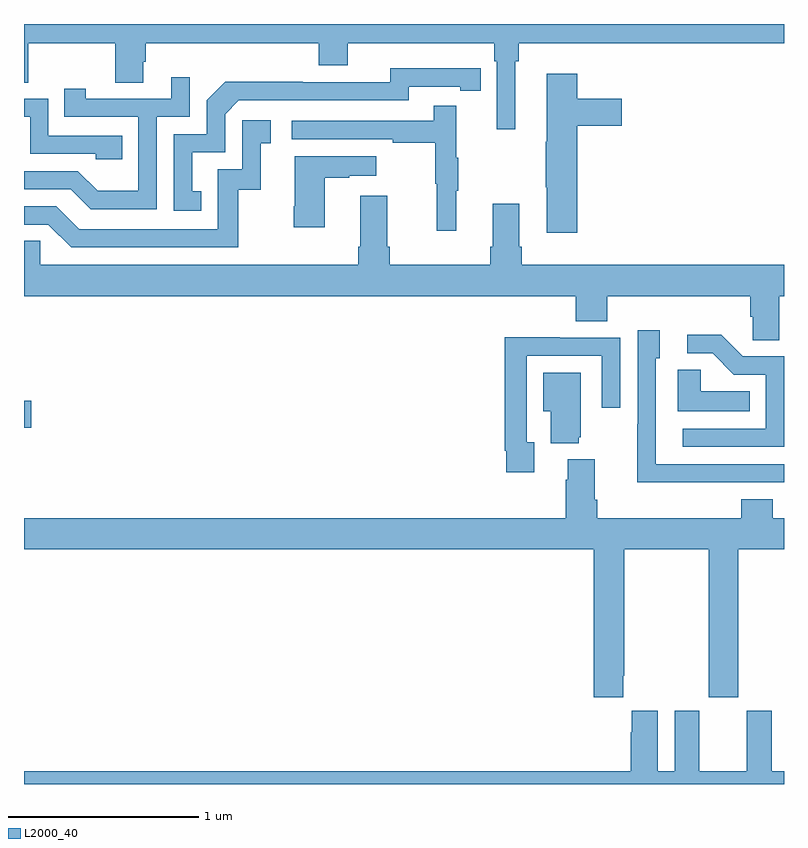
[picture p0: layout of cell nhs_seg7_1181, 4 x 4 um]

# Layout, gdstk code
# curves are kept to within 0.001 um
import gdstk
lib = gdstk.Library(unit=1e-6, precision=1e-09)
def R(c, l, rs):  # rectangles x0, y0, x1, y1
    for r in rs: c.add(gdstk.rectangle(r[:2], r[2:], *l))
def P(c, l, *ps):  # polygons
    for p in ps: c.add(gdstk.Polygon(p, *l))
L2000_40 = (2000, 40)

nhs_seg7_1181 = lib.new_cell('nhs_seg7_1181')
R(nhs_seg7_1181, L2000_40, [(193,1047.874,193.039,1048.016)])
P(nhs_seg7_1181, L2000_40, [(197,1050),(193,1050),(193,1049.692),(193.023,1049.692),(193.023,1049.9),(193.48,1049.9),(193.48,1049.692),(193.627,1049.692),(193.627,1049.802),(193.64,1049.802),(193.64,1049.9),(194.552,1049.9),(194.552,1049.783),(194.704,1049.783),(194.704,1049.9),(195.476,1049.9),(195.476,1049.804),(195.489,1049.804),(195.489,1049.445),(195.586,1049.445),(195.586,1049.804),(195.605,1049.804),(195.605,1049.9),(197,1049.9)],
  [(193.934,1049.121),(193.885,1049.121),(193.885,1049.325),(194.058,1049.325),(194.058,1049.526),(194.13,1049.598),(195.024,1049.598),(195.024,1049.67),(195.296,1049.67),(195.296,1049.65),(195.404,1049.65),(195.404,1049.766),(194.928,1049.767),(194.928,1049.694),(194.468,1049.694),(194.468,1049.696),(194.06,1049.696),(193.962,1049.598),(193.962,1049.421),(193.788,1049.421),(193.788,1049.016),(193.934,1049.016)],
  [(195.911,1049.465),(196.147,1049.465),(196.147,1049.607),(195.911,1049.607),(195.911,1049.737),(195.752,1049.737),(195.752,1049.381),(195.745,1049.381),(195.745,1049.14),(195.752,1049.14),(195.752,1048.902),(195.911,1048.902)],
  [(193.698,1049.511),(193.872,1049.511),(193.872,1049.719),(193.775,1049.719),(193.775,1049.607),(193.324,1049.607),(193.324,1049.659),(193.213,1049.659),(193.213,1049.511),(193.602,1049.511),(193.602,1049.122),(193.388,1049.122),(193.284,1049.226),(193,1049.226),(193,1049.13),(193.247,1049.13),(193.352,1049.025),(193.698,1049.025)],
  [(193.517,1049.412),(193.128,1049.412),(193.128,1049.607),(193,1049.607),(193,1049.511),(193.032,1049.511),(193.032,1049.316),(193.377,1049.316),(193.377,1049.289),(193.517,1049.289)],
  [(195.275,1049.123),(195.286,1049.123),(195.286,1049.297),(195.275,1049.297),(195.275,1049.569),(195.157,1049.569),(195.157,1049.49),(194.409,1049.49),(194.409,1049.394),(194.941,1049.394),(194.941,1049.374),(195.165,1049.374),(195.165,1049.16),(195.172,1049.16),(195.172,1048.911),(195.275,1048.911)],
  [(194.128,1049.127),(194.246,1049.127),(194.246,1049.373),(194.299,1049.373),(194.299,1049.494),(194.148,1049.494),(194.148,1049.235),(194.019,1049.235),(194.019,1048.92),(193.29,1048.92),(193.17,1049.04),(193,1049.04),(193,1048.944),(193.128,1048.944),(193.248,1048.824),(194.128,1048.824)],
  [(194.584,1049.191),(194.711,1049.191),(194.711,1049.201),(194.854,1049.201),(194.854,1049.305),(194.426,1049.305),(194.426,1049.041),(194.419,1049.041),(194.419,1048.929),(194.584,1048.929)],
  [(196.975,1048.568),(197,1048.568),(197,1048.732),(195.62,1048.732),(195.62,1048.828),(195.607,1048.828),(195.607,1049.053),(195.467,1049.053),(195.467,1048.828),(195.455,1048.828),(195.455,1048.732),(194.924,1048.732),(194.924,1048.828),(194.911,1048.828),(194.911,1049.095),(194.771,1049.095),(194.771,1048.828),(194.759,1048.828),(194.759,1048.732),(193.086,1048.732),(193.086,1048.859),(193,1048.859),(193,1048.568),(195.905,1048.568),(195.905,1048.435),(196.07,1048.435),(196.07,1048.568),(196.823,1048.568),(196.823,1048.459),(196.836,1048.459),(196.836,1048.336),(196.975,1048.336)],
  [(196.691,1047.588),(197,1047.588),(197,1047.684),(196.326,1047.684),(196.326,1048.242),(196.345,1048.242),(196.345,1048.387),(196.23,1048.387),(196.23,1047.893),(196.228,1047.893),(196.228,1047.587),(196.691,1047.587)],
  [(197,1048.251),(196.782,1048.251),(196.669,1048.364),(196.491,1048.364),(196.491,1048.266),(196.625,1048.266),(196.736,1048.155),(196.905,1048.155),(196.905,1047.87),(196.467,1047.87),(196.467,1047.774),(197,1047.774)],
  [(195.685,1047.798),(195.645,1047.798),(195.645,1048.254),(196.041,1048.254),(196.041,1047.981),(196.137,1047.981),(196.137,1048.35),(195.821,1048.35),(195.821,1048.352),(195.529,1048.352),(195.529,1047.754),(195.537,1047.754),(195.537,1047.642),(195.685,1047.642)],
  [(196.82,1048.066),(196.563,1048.066),(196.563,1048.181),(196.442,1048.181),(196.442,1047.962),(196.82,1047.962)],
  [(195.92,1047.825),(195.931,1047.825),(195.931,1048.165),(195.734,1048.165),(195.734,1047.962),(195.773,1047.962),(195.773,1047.794),(195.92,1047.794)],
  [(196.153,1046.569),(196.158,1046.569),(196.158,1047.236),(196.603,1047.236),(196.603,1046.457),(196.758,1046.457),(196.758,1047.236),(197,1047.236),(197,1047.4),(196.94,1047.4),(196.94,1047.499),(196.775,1047.499),(196.775,1047.4),(196.016,1047.4),(196.016,1047.496),(196.003,1047.496),(196.003,1047.709),(195.863,1047.709),(195.863,1047.602),(195.851,1047.602),(195.851,1047.4),(193,1047.4),(193,1047.236),(195.998,1047.236),(195.998,1046.457),(196.153,1046.457)],
  [(197,1046.068),(196.936,1046.068),(196.936,1046.386),(196.805,1046.386),(196.805,1046.068),(196.555,1046.068),(196.555,1046.386),(196.424,1046.386),(196.424,1046.068),(196.336,1046.068),(196.336,1046.386),(196.199,1046.386),(196.199,1046.273),(196.193,1046.273),(196.193,1046.068),(193,1046.068),(193,1046),(197,1046)])

lib.write_gds('nhs_seg7_1181.gds')
